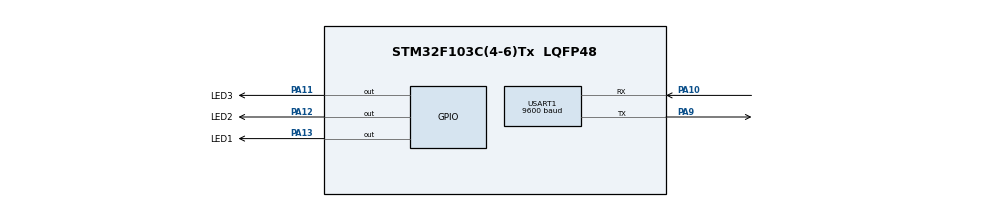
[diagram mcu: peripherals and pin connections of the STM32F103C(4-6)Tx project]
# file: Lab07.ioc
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Mcu.Family=STM32F1
Mcu.Name=STM32F103C(4-6)Tx
Mcu.Package=LQFP48
NVIC.PriorityGroup=NVIC_PRIORITYGROUP_4
NVIC.USART1_IRQn=true\:0\:0\:false\:false\:true\:true\:true
PA10.Mode=Asynchronous
PA10.Signal=USART1_RX
PA11.GPIO_Label=LED3
PA11.Signal=GPIO_Output
PA12.GPIO_Label=LED2
PA12.Signal=GPIO_Output
PA13.GPIO_Label=LED1
PA13.Signal=GPIO_Output
PA9.Mode=Asynchronous
PA9.Signal=USART1_TX
ProjectManager.HeapSize=0x200
ProjectManager.StackSize=0x400
ProjectManager.TargetToolchain=STM32CubeIDE
RCC.APB1Freq_Value=8000000
RCC.APB2Freq_Value=8000000
USART1.BaudRate=9600
USART1.VirtualMode=VM_ASYNC
VP_SYS_VS_ND.Mode=No_Debug
board=custom

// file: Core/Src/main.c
/* USER CODE BEGIN Header */
/**
  ******************************************************************************
  * @file           : main.c
  * @brief          : Main program body
  ******************************************************************************
  * @attention
  *
  * <h2><center>&copy; Copyright (c) 2021 STMicroelectronics.
  * All rights reserved.</center></h2>
  *
  * This software component is licensed by ST under BSD 3-Clause license,
  * the "License"; You may not use this file except in compliance with the
  * License. You may obtain a copy of the License at:
  *                        opensource.org/licenses/BSD-3-Clause
  *
  ******************************************************************************
  */
/* USER CODE END Header */
#include "main.h"

UART_HandleTypeDef huart1;

/* USER CODE BEGIN PV */
uint8_t str[1];
int RxCompleted = 0;
int TxCompleted = 1;
/* USER CODE END PV */

void SystemClock_Config(void);
static void MX_GPIO_Init(void);
static void MX_USART1_UART_Init(void);

int main(void)
{

  /* MCU Configuration--------------------------------------------------------*/

  /* Reset of all peripherals, Initializes the Flash interface and the Systick. */
  HAL_Init();

  /* Configure the system clock */
  SystemClock_Config();

  /* Initialize all configured peripherals */
  MX_GPIO_Init();
  MX_USART1_UART_Init();
  /* USER CODE BEGIN 2 */
  HAL_UART_Receive_IT (&huart1, str, 1);
  /* USER CODE END 2 */

  /* Infinite loop */
  while (1)
  {

  }
}

void SystemClock_Config(void)
{
  RCC_OscInitTypeDef RCC_OscInitStruct = {0};
  RCC_ClkInitTypeDef RCC_ClkInitStruct = {0};

  /** Initializes the RCC Oscillators according to the specified parameters
  * in the RCC_OscInitTypeDef structure.
  */
  RCC_OscInitStruct.OscillatorType = RCC_OSCILLATORTYPE_HSI;
  RCC_OscInitStruct.HSIState = RCC_HSI_ON;
  RCC_OscInitStruct.HSICalibrationValue = RCC_HSICALIBRATION_DEFAULT;
  RCC_OscInitStruct.PLL.PLLState = RCC_PLL_NONE;
  if (HAL_RCC_OscConfig(&RCC_OscInitStruct) != HAL_OK)
  {
    Error_Handler();
  }
  /** Initializes the CPU, AHB and APB buses clocks
  */
  RCC_ClkInitStruct.ClockType = RCC_CLOCKTYPE_HCLK|RCC_CLOCKTYPE_SYSCLK
                              |RCC_CLOCKTYPE_PCLK1|RCC_CLOCKTYPE_PCLK2;
  RCC_ClkInitStruct.SYSCLKSource = RCC_SYSCLKSOURCE_HSI;
  RCC_ClkInitStruct.AHBCLKDivider = RCC_SYSCLK_DIV1;
  RCC_ClkInitStruct.APB1CLKDivider = RCC_HCLK_DIV1;
  RCC_ClkInitStruct.APB2CLKDivider = RCC_HCLK_DIV1;

  if (HAL_RCC_ClockConfig(&RCC_ClkInitStruct, FLASH_LATENCY_0) != HAL_OK)
  {
    Error_Handler();
  }
}

static void MX_USART1_UART_Init(void)
{

  huart1.Instance = USART1;
  huart1.Init.BaudRate = 9600;
  huart1.Init.WordLength = UART_WORDLENGTH_8B;
  huart1.Init.StopBits = UART_STOPBITS_1;
  huart1.Init.Parity = UART_PARITY_NONE;
  huart1.Init.Mode = UART_MODE_TX_RX;
  huart1.Init.HwFlowCtl = UART_HWCONTROL_NONE;
  huart1.Init.OverSampling = UART_OVERSAMPLING_16;
  if (HAL_UART_Init(&huart1) != HAL_OK)
  {
    Error_Handler();
  }

}

static void MX_GPIO_Init(void)
{
  GPIO_InitTypeDef GPIO_InitStruct = {0};

  /* GPIO Ports Clock Enable */
  __HAL_RCC_GPIOA_CLK_ENABLE();

  /*Configure GPIO pin Output Level */
  HAL_GPIO_WritePin(GPIOA, LED3_Pin|LED2_Pin|LED1_Pin, GPIO_PIN_RESET);

  /*Configure GPIO pins : LED3_Pin LED2_Pin LED1_Pin */
  GPIO_InitStruct.Pin = LED3_Pin|LED2_Pin|LED1_Pin;
  GPIO_InitStruct.Mode = GPIO_MODE_OUTPUT_PP;
  GPIO_InitStruct.Pull = GPIO_NOPULL;
  GPIO_InitStruct.Speed = GPIO_SPEED_FREQ_LOW;
  HAL_GPIO_Init(GPIOA, &GPIO_InitStruct);

}

/* USER CODE BEGIN 4 */
void HAL_UART_RxCpltCallback(UART_HandleTypeDef *huart)
{
	if(huart == &huart1)
	{
		RxCompleted = 1;

		if (TxCompleted == 1)
		{
			TxCompleted = 0;
			HAL_UART_Transmit_IT (&huart1, str, 1);
		}
	}
}

void HAL_UART_TxCpltCallback (UART_HandleTypeDef *huart)
{
	if(huart == &huart1)
	{
		TxCompleted = 1;

		if (RxCompleted == 1)
		{
			RxCompleted = 0;
			HAL_UART_Receive_IT (&huart1, str, 1);
		}
	}
}

/* USER CODE END 4 */

void Error_Handler(void)
{
  __disable_irq();
  while (1)
  {
  }
}
